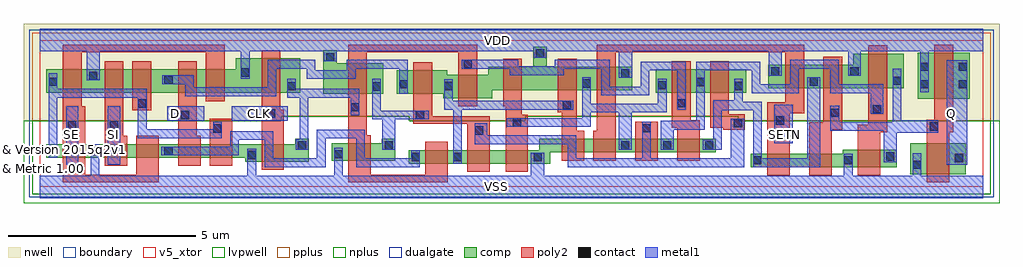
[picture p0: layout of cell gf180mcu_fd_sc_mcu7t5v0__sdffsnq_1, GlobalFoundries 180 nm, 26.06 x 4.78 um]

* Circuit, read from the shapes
.subckt gf180mcu_fd_sc_mcu7t5v0__sdffsnq_1 CLK D Q SE SETN SI VDD VSS
XM1 VSS SE n1 VSUBS nfet_05v0 w=0.36u l=0.6u
XM2 n2 SI VSS VSUBS nfet_05v0 w=0.36u l=0.6u
XM3 n3 SE n2 VSUBS nfet_05v0 w=0.36u l=0.6u
XM4 n4 D n3 VSUBS nfet_05v0 w=0.36u l=0.6u
XM5 VSS n1 n4 VSUBS nfet_05v0 w=0.36u l=0.6u
XM6 n5 CLK VSS VSUBS nfet_05v0 w=0.465u l=0.6u
XM7 n6 n5 VSS VSUBS nfet_05v0 w=0.465u l=0.6u
XM8 n7 n5 n3 VSUBS nfet_05v0 w=0.36u l=0.6u
XM9 n8 n6 n7 VSUBS nfet_05v0 w=0.36u l=0.6u
XM10 VSS n9 n8 VSUBS nfet_05v0 w=0.36u l=0.6u
XM11 n10 n7 VSS VSUBS nfet_05v0 w=0.36u l=0.6u
XM12 n9 SETN n10 VSUBS nfet_05v0 w=0.36u l=0.6u
XM13 n11 n6 n9 VSUBS nfet_05v0 w=0.36u l=0.6u
XM14 n12 n5 n11 VSUBS nfet_05v0 w=0.36u l=0.6u
XM15 n13 SETN n12 VSUBS nfet_05v0 w=0.36u l=0.6u
XM16 VSS n14 n13 VSUBS nfet_05v0 w=0.36u l=0.6u
XM17 n14 n11 VSS VSUBS nfet_05v0 w=0.465u l=0.6u
XM18 Q n14 VSS VSUBS nfet_05v0 w=0.82u l=0.6u
XM19 VDD SE n1 n15 pfet_05v0 w=0.63u l=0.5u
XM20 n16 SI VDD n15 pfet_05v0 w=0.63u l=0.5u
XM21 n17 n1 n16 n15 pfet_05v0 w=0.63u l=0.5u
XM22 n18 D n17 n15 pfet_05v0 w=0.63u l=0.5u
XM23 VDD SE n18 n15 pfet_05v0 w=0.63u l=0.5u
XM24 n5 CLK VDD n15 pfet_05v0 w=0.925u l=0.5u
XM25 n6 n5 VDD n15 pfet_05v0 w=0.815u l=0.5u
XM26 n7 n6 n17 n15 pfet_05v0 w=0.625u l=0.5u
XM27 n19 n5 n7 n15 pfet_05v0 w=0.625u l=0.5u
XM28 VDD n9 n19 n15 pfet_05v0 w=0.625u l=0.5u
XM29 n9 n7 VDD n15 pfet_05v0 w=0.625u l=0.5u
XM30 VDD SETN n9 n15 pfet_05v0 w=0.625u l=0.5u
XM31 n11 n5 n9 n15 pfet_05v0 w=0.625u l=0.5u
XM32 n12 n6 n11 n15 pfet_05v0 w=0.625u l=0.5u
XM33 n12 SETN VDD n15 pfet_05v0 w=0.625u l=0.5u
XM34 VDD n14 n12 n15 pfet_05v0 w=0.625u l=0.5u
XM35 n14 n11 VDD n15 pfet_05v0 w=0.925u l=0.5u
XM36 Q n14 VDD n15 pfet_05v0 w=1.22u l=0.5u
.ends

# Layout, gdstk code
import gdstk
lib = gdstk.Library(unit=1e-6, precision=1e-09)
def R(c, l, rs):  # rectangles x0, y0, x1, y1
    for r in rs: c.add(gdstk.rectangle(r[:2], r[2:], *l))
def A(c, l, x, y, w, h, nx, ny, dx, dy):  # array of equal rectangles
    R(c, l, [(x+i*dx, y+j*dy, x+i*dx+w, y+j*dy+h) for i in range(nx) for j in range(ny)])
def P(c, l, *ps):  # polygons
    for p in ps: c.add(gdstk.Polygon(p, *l))
boundary = (0, 0)
nwell = (21, 0)
comp = (22, 0)
poly2 = (30, 0)
pplus = (31, 0)
nplus = (32, 0)
contact = (33, 0)
metal1 = (34, 0)
dualgate = (55, 0)
v5_xtor = (112, 1)
lvpwell = (204, 0)

gf180mcu_fd_sc_mcu7t5v0_ = lib.new_cell('gf180mcu_fd_sc_mcu7t5v0__sdffsnq_1')
R(gf180mcu_fd_sc_mcu7t5v0_, boundary, [(0,0,25.2,3.92)])
P(gf180mcu_fd_sc_mcu7t5v0_, nwell, [(-0.43,1.76),(-0.43,4.35),(25.63,4.35),(25.63,1.76),(18.65,1.76),(18.65,1.885),(12.97,1.885),(12.97,1.76),(9.875,1.76),(9.875,1.885),(6.455,1.885),(6.455,1.76)])
R(gf180mcu_fd_sc_mcu7t5v0_, comp, [(23.25,0.34,24.73,1.16), (23.45,2.36,24.83,3.58), (16.445,2.515,18.865,3.14)])
P(gf180mcu_fd_sc_mcu7t5v0_, comp, [(0.18,2.51),(0.18,3.14),(5.24,3.14),(5.24,3.435),(6.965,3.435),(6.965,2.51)],
  [(5.485,0.675),(5.485,0.78),(0.18,0.78),(0.18,1.14),(6.825,1.14),(6.825,1.285),(7.185,1.285),(7.185,0.675)],
  [(7.58,2.485),(7.58,3.645),(7.94,3.645),(7.94,3.3),(9.18,3.3),(9.18,2.485)],
  [(7.8,0.695),(7.8,1.16),(9.14,1.16),(9.14,1.285),(9.5,1.285),(9.5,0.695)],
  [(10.78,2.37),(10.78,2.485),(9.54,2.485),(9.54,3.11),(10.88,3.11),(10.88,2.995),(11.98,2.995),(11.98,3.205),(13.18,3.205),(13.18,3.74),(13.54,3.74),(13.54,3.205),(15.82,3.205),(15.82,2.58),(12.08,2.58),(12.08,2.37)],
  [(9.86,0.62),(9.86,0.98),(13.34,0.98),(13.34,1.285),(18.06,1.285),(18.06,0.925),(13.64,0.925),(13.64,0.62)],
  [(18.985,0.53),(18.985,0.89),(21.45,0.89),(21.45,0.995),(22.89,0.995),(22.89,0.53)],
  [(19.46,2.635),(19.46,3.26),(21.73,3.26),(21.73,3.56),(23.07,3.56),(23.07,2.635)])
R(gf180mcu_fd_sc_mcu7t5v0_, poly2, [(4.54,0.56,5.14,1.815), (15.9,0.705,16.5,1.745), (2.48,2.05,2.98,3.36)])
P(gf180mcu_fd_sc_mcu7t5v0_, poly2, [(1.74,0.56),(1.74,3.36),(2.24,3.36),(2.24,1.36),(2.34,1.36),(2.34,0.56)],
  [(3.7,0.56),(3.7,3.36),(4.2,3.36),(4.2,1.36),(4.3,1.36),(4.3,0.56)],
  [(0.62,0.12),(0.62,3.8),(4.94,3.8),(4.94,2.29),(4.44,2.29),(4.44,3.6),(1.12,3.6),(1.12,2.16),(1.22,2.16),(1.22,0.32),(2.58,0.32),(2.58,1.36),(3.18,1.36),(3.18,0.12)],
  [(5.925,0.455),(5.925,3.655),(6.425,3.655),(6.425,2.065),(6.525,2.065),(6.525,0.455)],
  [(8.24,0.12),(8.24,3.8),(11.68,3.8),(11.68,2.15),(11.18,2.15),(11.18,3.6),(8.74,3.6),(8.74,1.385),(8.84,1.385),(8.84,0.32),(10.3,0.32),(10.3,1.2),(10.9,1.2),(10.9,0.12)],
  [(11.42,0.4),(11.42,1.68),(9.98,1.68),(9.98,3.33),(10.48,3.33),(10.48,1.88),(12.02,1.88),(12.02,0.4)],
  [(12.44,0.4),(12.44,2.15),(12.38,2.15),(12.38,3.425),(12.88,3.425),(12.88,1.92),(13.04,1.92),(13.04,0.4)],
  [(13.94,0.705),(13.94,2),(13.84,2),(13.84,3.425),(14.34,3.425),(14.34,1.505),(14.54,1.505),(14.54,0.705)],
  [(17.02,0.705),(17.02,1.585),(16.885,1.585),(16.885,3.36),(17.385,3.36),(17.385,1.785),(17.62,1.785),(17.62,0.705)],
  [(18.25,1.52),(18.25,1.585),(17.905,1.585),(17.905,3.36),(18.405,3.36),(18.405,1.945),(18.83,1.945),(18.83,1.52)],
  [(19.425,0.31),(19.425,2.255),(19.91,2.255),(19.91,3.6),(15.38,3.6),(15.38,0.705),(14.78,0.705),(14.78,1.505),(14.88,1.505),(14.88,3.8),(20.41,3.8),(20.41,1.965),(20.025,1.965),(20.025,0.31)],
  [(20.55,0.31),(20.55,1.725),(20.93,1.725),(20.93,3.48),(21.43,3.48),(21.43,1.525),(21.15,1.525),(21.15,0.31)],
  [(21.85,0.31),(21.85,1.66),(22.13,1.66),(22.13,3.78),(22.63,3.78),(22.63,1.46),(22.45,1.46),(22.45,0.31)],
  [(23.69,0.12),(23.69,1.79),(23.89,1.79),(23.89,3.8),(24.39,3.8),(24.39,1.46),(24.29,1.46),(24.29,0.12)])
P(gf180mcu_fd_sc_mcu7t5v0_, pplus, [(-0.2,1.76),(-0.2,4.12),(25.4,4.12),(25.4,1.76),(18.65,1.76),(18.65,1.885),(12.97,1.885),(12.97,1.76),(9.875,1.76),(9.875,1.885),(6.455,1.885),(6.455,1.76)])
P(gf180mcu_fd_sc_mcu7t5v0_, nplus, [(-0.2,-0.2),(-0.2,1.76),(6.455,1.76),(6.455,1.885),(9.875,1.885),(9.875,1.76),(12.97,1.76),(12.97,1.885),(18.65,1.885),(18.65,1.76),(25.4,1.76),(25.4,-0.2)])
A(gf180mcu_fd_sc_mcu7t5v0_, contact, 15.53, 0.995, 0.22, 0.22, 3, 1, 1.12, 0)
R(gf180mcu_fd_sc_mcu7t5v0_, contact, [(23.32,0.485,23.54,0.705), (19.055,0.6,19.275,0.82), (21.48,0.6,21.7,0.82), (24.44,0.66,24.66,0.88), (9.93,0.69,10.15,0.91), (11.05,0.69,11.27,0.91), (13.19,0.69,13.41,0.91), (22.6,0.705,22.82,0.925), (5.555,0.745,5.775,0.965), (7.87,0.765,8.09,0.985), (0.25,0.85,0.47,1.07), (1.37,0.85,1.59,1.07), (3.33,0.85,3.55,1.07), (6.895,0.995,7.115,1.215), (9.21,0.995,9.43,1.215), (11.63,1.395,11.85,1.615), (4.635,1.45,4.855,1.67), (16.095,1.455,16.315,1.675), (23.765,1.5,23.985,1.72), (0.755,1.53,0.975,1.75), (1.875,1.53,2.095,1.75), (18.54,1.59,18.76,1.81), (12.635,1.61,12.855,1.83), (19.66,1.66,19.88,1.88), (3.77,1.81,3.99,2.03), (10.05,1.81,10.27,2.03), (6.07,1.85,6.29,2.07), (21.12,1.87,21.34,2.09), (22.25,1.965,22.47,2.185), (8.31,2.015,8.53,2.235), (13.975,2.07,14.195,2.29), (2.63,2.12,2.85,2.34), (17.025,2.125,17.245,2.345), (8.89,2.57,9.11,2.79), (6.615,2.58,6.835,2.8), (10.805,2.585,11.025,2.805), (18.555,2.585,18.775,2.805), (16.515,2.605,16.735,2.825), (9.61,2.63,9.83,2.85), (23.52,2.63,23.74,2.85), (24.54,2.63,24.76,2.85), (14.49,2.65,14.71,2.87), (17.535,2.69,17.755,2.91), (0.25,2.7,0.47,2.92), (20.56,2.705,20.78,2.925), (22.78,2.725,23,2.945), (3.33,2.75,3.55,2.97), (1.32,2.85,1.54,3.07), (15.53,2.915,15.75,3.135), (5.38,2.945,5.6,3.165), (19.53,2.97,19.75,3.19), (21.65,2.97,21.87,3.19), (23.52,3.1,23.74,3.32), (24.54,3.1,24.76,3.32), (11.325,3.165,11.545,3.385), (7.65,3.355,7.87,3.575), (13.25,3.45,13.47,3.67)])
R(gf180mcu_fd_sc_mcu7t5v0_, metal1, [(0.705,0.595,1.03,2.15), (1.825,0.595,2.15,2.15), (24.22,0.595,24.77,3.38), (19.62,1.17,20.11,2.19), (3.41,1.765,4.39,2.155), (5.13,1.765,6.63,2.155)])
P(gf180mcu_fd_sc_mcu7t5v0_, metal1, [(0.245,0.78),(0.245,3.04),(0.475,3.04),(0.475,2.615),(2.855,2.615),(2.855,1.535),(4.63,1.535),(4.63,1.74),(4.86,1.74),(4.86,1.305),(2.625,1.305),(2.625,2.385),(0.475,2.385),(0.475,0.78)],
  [(6.835,0.99),(6.835,1.275),(6.945,1.275),(6.945,2.385),(6.61,2.385),(6.61,2.89),(6.84,2.89),(6.84,2.62),(8.535,2.62),(8.535,1.91),(8.305,1.91),(8.305,2.385),(7.175,2.385),(7.175,0.99)],
  [(3.89,2.42),(3.89,2.745),(3.27,2.745),(3.27,2.975),(4.12,2.975),(4.12,2.655),(6.085,2.655),(6.085,3.39),(7.36,3.39),(7.36,3.12),(8.205,3.12),(8.205,3.39),(9.835,3.39),(9.835,2.485),(9.605,2.485),(9.605,3.16),(8.435,3.16),(8.435,2.89),(7.13,2.89),(7.13,3.16),(6.315,3.16),(6.315,2.42)],
  [(6.01,0.53),(6.01,1.26),(5.32,1.26),(5.32,0.845),(3.25,0.845),(3.25,1.075),(5.09,1.075),(5.09,1.49),(6.24,1.49),(6.24,0.76),(7.405,0.76),(7.405,1.53),(8.68,1.53),(8.68,0.76),(9.925,0.76),(9.925,0.98),(10.155,0.98),(10.155,0.53),(8.45,0.53),(8.45,1.295),(7.635,1.295),(7.635,0.53)],
  [(9.15,0.99),(9.15,1.8),(8.885,1.8),(8.885,2.89),(9.115,2.89),(9.115,2.035),(10.39,2.035),(10.39,1.8),(9.49,1.8),(9.49,0.99)],
  [(11.045,0.62),(11.045,2.065),(10.8,2.065),(10.8,2.87),(11.03,2.87),(11.03,2.295),(14.255,2.295),(14.255,2.065),(11.275,2.065),(11.275,0.62)],
  [(15.47,0.99),(15.47,1.99),(14.715,1.99),(14.715,1.605),(12.475,1.605),(12.475,1.835),(14.485,1.835),(14.485,2.93),(14.715,2.93),(14.715,2.22),(16.51,2.22),(16.51,2.885),(16.74,2.885),(16.74,1.99),(15.81,1.99),(15.81,0.99)],
  [(17.02,2.065),(17.02,3.115),(16.28,3.115),(16.28,2.45),(15,2.45),(15,3.16),(13.99,3.16),(13.99,2.985),(12.55,2.985),(12.55,3.16),(11.265,3.16),(11.265,3.39),(12.78,3.39),(12.78,3.215),(13.76,3.215),(13.76,3.39),(15.23,3.39),(15.23,2.68),(16.05,2.68),(16.05,3.345),(17.25,3.345),(17.25,2.065)],
  [(14.1,0.53),(14.1,1.145),(11.625,1.145),(11.625,1.7),(11.955,1.7),(11.955,1.375),(14.33,1.375),(14.33,0.76),(16.09,0.76),(16.09,1.74),(16.32,1.74),(16.32,0.76),(18.45,0.76),(18.45,1.815),(18.82,1.815),(18.82,0.53)],
  [(19.05,0.53),(19.05,2.045),(18.22,2.045),(18.22,0.99),(17.71,0.99),(17.71,1.265),(17.99,1.265),(17.99,2.315),(18.55,2.315),(18.55,2.885),(18.78,2.885),(18.78,2.275),(19.28,2.275),(19.28,0.76),(20.5,0.76),(20.5,2.93),(20.84,2.93),(20.84,0.53)],
  [(16.59,0.99),(16.59,1.76),(17.53,1.76),(17.53,3.345),(19.24,3.345),(19.24,2.735),(20.04,2.735),(20.04,3.39),(21.34,3.39),(21.34,2.735),(22.53,2.735),(22.53,1.96),(22.19,1.96),(22.19,2.505),(21.11,2.505),(21.11,3.16),(20.27,3.16),(20.27,2.505),(19.01,2.505),(19.01,3.115),(17.76,3.115),(17.76,1.525),(16.93,1.525),(16.93,0.99)],
  [(22.54,0.655),(22.54,1.495),(21.115,1.495),(21.115,2.17),(21.345,2.17),(21.345,1.725),(22.775,1.725),(22.775,3.15),(23.005,3.15),(23.005,1.78),(23.99,1.78),(23.99,1.44),(22.89,1.44),(22.89,0.655)],
  [(0,-0.3),(0,0.3),(1.365,0.3),(1.365,1.14),(1.595,1.14),(1.595,0.3),(5.55,0.3),(5.55,1.025),(5.78,1.025),(5.78,0.3),(7.865,0.3),(7.865,1.045),(8.095,1.045),(8.095,0.3),(13.12,0.3),(13.12,0.915),(13.48,0.915),(13.48,0.3),(21.475,0.3),(21.475,0.89),(21.705,0.89),(21.705,0.3),(23.315,0.3),(23.315,0.905),(23.545,0.905),(23.545,0.3),(25.2,0.3),(25.2,-0.3)],
  [(23.515,2.53),(23.515,3.62),(21.93,3.62),(21.93,2.965),(21.59,2.965),(21.59,3.62),(19.81,3.62),(19.81,2.965),(19.47,2.965),(19.47,3.62),(15.82,3.62),(15.82,2.91),(15.46,2.91),(15.46,3.62),(13.53,3.62),(13.53,3.445),(13.19,3.445),(13.19,3.62),(7.93,3.62),(7.93,3.35),(7.59,3.35),(7.59,3.62),(5.605,3.62),(5.605,2.885),(5.375,2.885),(5.375,3.62),(1.6,3.62),(1.6,2.845),(1.26,2.845),(1.26,3.62),(0,3.62),(0,4.22),(25.2,4.22),(25.2,3.62),(23.745,3.62),(23.745,2.53)])
R(gf180mcu_fd_sc_mcu7t5v0_, dualgate, [(-0.28,-0.28,25.48,4.2)])
R(gf180mcu_fd_sc_mcu7t5v0_, v5_xtor, [(0,0,25.2,3.92)])
P(gf180mcu_fd_sc_mcu7t5v0_, lvpwell, [(-0.43,-0.43),(-0.43,1.76),(6.455,1.76),(6.455,1.885),(9.875,1.885),(9.875,1.76),(12.97,1.76),(12.97,1.885),(18.65,1.885),(18.65,1.76),(25.63,1.76),(25.63,-0.43)])
gf180mcu_fd_sc_mcu7t5v0_.add(gdstk.Label('Q', (24.36,1.96), layer=34, texttype=10))
gf180mcu_fd_sc_mcu7t5v0_.add(gdstk.Label('SE', (0.84,1.4), layer=34, texttype=10))
gf180mcu_fd_sc_mcu7t5v0_.add(gdstk.Label('SETN', (19.88,1.4), layer=34, texttype=10))
gf180mcu_fd_sc_mcu7t5v0_.add(gdstk.Label('SI', (1.96,1.4), layer=34, texttype=10))
gf180mcu_fd_sc_mcu7t5v0_.add(gdstk.Label('VDD', (12.215,3.91), layer=34, texttype=10))
gf180mcu_fd_sc_mcu7t5v0_.add(gdstk.Label('VSS', (12.21,0.005), layer=34, texttype=10))
gf180mcu_fd_sc_mcu7t5v0_.add(gdstk.Label('CLK', (5.88,1.96), layer=34, texttype=10))
gf180mcu_fd_sc_mcu7t5v0_.add(gdstk.Label('D', (3.64,1.96), layer=34, texttype=10))
gf180mcu_fd_sc_mcu7t5v0_.add(gdstk.Label('& Vendor GLOBALFOUNDRIES', (0,2), layer=63, texttype=63))
gf180mcu_fd_sc_mcu7t5v0_.add(gdstk.Label('& Product GF018hv5v_mcu_sc7', (0,1.5), layer=63, texttype=63))
gf180mcu_fd_sc_mcu7t5v0_.add(gdstk.Label('& Version 2015q2v1', (0,1), layer=63, texttype=63))
gf180mcu_fd_sc_mcu7t5v0_.add(gdstk.Label('& Metric 1.00', (0,0.5), layer=63, texttype=63))

lib.write_gds('gf180mcu_fd_sc_mcu7t5v0__sdffsnq_1.gds')
